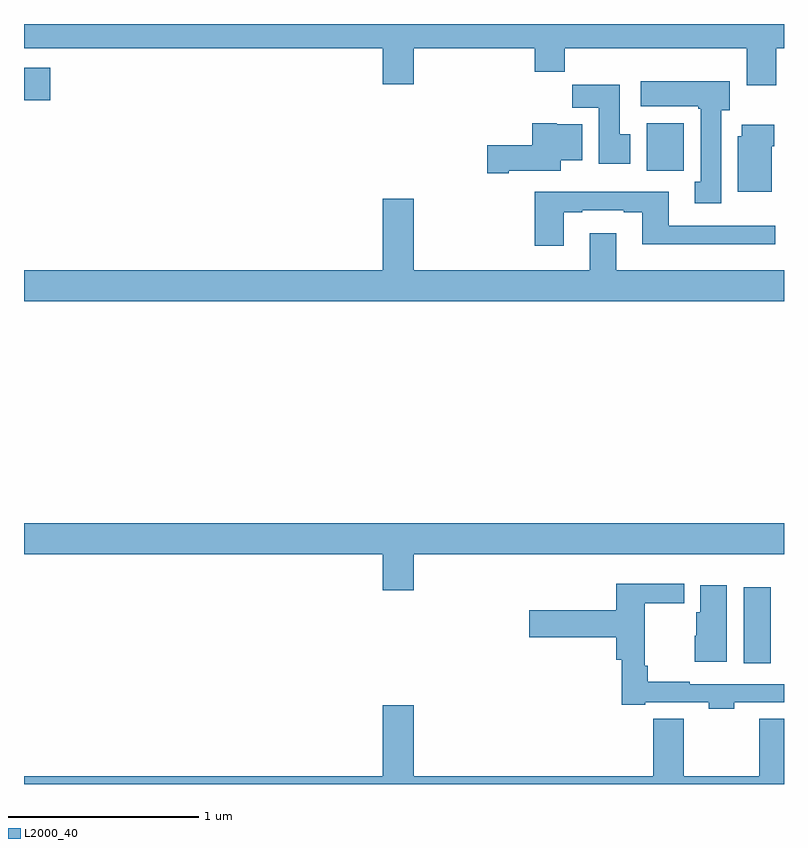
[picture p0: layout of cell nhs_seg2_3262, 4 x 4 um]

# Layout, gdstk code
import gdstk
lib = gdstk.Library(unit=1e-6, precision=1e-09)
def R(c, l, rs):  # rectangles x0, y0, x1, y1
    for r in rs: c.add(gdstk.rectangle(r[:2], r[2:], *l))
def P(c, l, *ps):  # polygons
    for p in ps: c.add(gdstk.Polygon(p, *l))
L2000_40 = (2000, 40)

nhs_seg2_3262 = lib.new_cell('nhs_seg2_3262')
R(nhs_seg2_3262, L2000_40, [(286.787,608.436,286.93,608.836), (286.277,611.028,286.473,611.278), (283,611.399,283.138,611.569)])
P(nhs_seg2_3262, L2000_40, [(286.958,611.672),(287,611.672),(287,611.8),(283,611.8),(283,611.672),(284.888,611.672),(284.888,611.484),(285.052,611.484),(285.052,611.672),(285.689,611.672),(285.689,611.548),(285.845,611.548),(285.845,611.672),(286.805,611.672),(286.805,611.478),(286.958,611.478)],
  [(286.669,611.346),(286.714,611.346),(286.714,611.5),(286.245,611.5),(286.245,611.366),(286.549,611.366),(286.549,611.353),(286.562,611.353),(286.562,610.969),(286.529,610.969),(286.529,610.857),(286.669,610.857)],
  [(286.192,611.22),(286.135,611.22),(286.135,611.479),(285.886,611.479),(285.886,611.36),(286.025,611.36),(286.025,611.064),(286.192,611.064)],
  [(285.55,611.027),(285.826,611.027),(285.826,611.084),(285.937,611.084),(285.937,611.272),(285.804,611.272),(285.804,611.278),(285.674,611.278),(285.674,611.162),(285.438,611.162),(285.438,611.015),(285.55,611.015)],
  [(286.936,611.156),(286.949,611.156),(286.949,611.269),(286.778,611.269),(286.778,611.208),(286.757,611.208),(286.757,610.916),(286.936,610.916)],
  [(285.841,610.809),(285.937,610.809),(285.937,610.821),(286.157,610.821),(286.157,610.809),(286.253,610.809),(286.253,610.64),(286.954,610.64),(286.954,610.737),(286.393,610.737),(286.393,610.918),(285.689,610.918),(285.689,610.632),(285.841,610.632)],
  [(287,610.504),(286.117,610.504),(286.117,610.699),(285.977,610.699),(285.977,610.504),(285.052,610.504),(285.052,610.879),(284.888,610.879),(284.888,610.504),(283,610.504),(283,610.34),(287,610.34)],
  [(285.052,609.008),(287,609.008),(287,609.172),(283,609.172),(283,609.008),(284.888,609.008),(284.888,608.82),(285.052,608.82)],
  [(286.737,608.229),(287,608.229),(287,608.325),(286.505,608.325),(286.505,608.338),(286.283,608.338),(286.283,608.422),(286.268,608.422),(286.268,608.752),(286.474,608.752),(286.474,608.854),(286.118,608.854),(286.118,608.715),(285.66,608.715),(285.66,608.573),(286.118,608.573),(286.118,608.453),(286.147,608.453),(286.147,608.217),(286.27,608.217),(286.27,608.229),(286.605,608.229),(286.605,608.197),(286.737,608.197)],
  [(286.699,608.845),(286.559,608.845),(286.559,608.703),(286.538,608.703),(286.538,608.58),(286.529,608.58),(286.529,608.444),(286.699,608.444)],
  [(287,608.144),(286.87,608.144),(286.87,607.84),(286.472,607.84),(286.472,608.144),(286.313,608.144),(286.313,607.84),(285.052,607.84),(285.052,608.215),(284.888,608.215),(284.888,607.84),(283,607.84),(283,607.8),(287,607.8)])

lib.write_gds('nhs_seg2_3262.gds')
